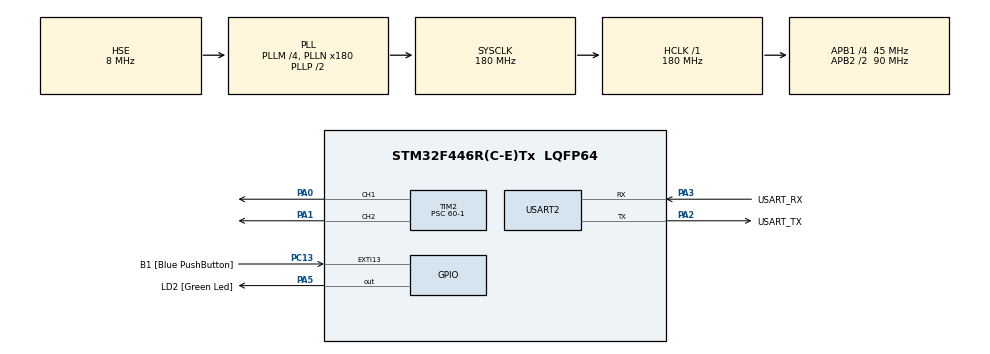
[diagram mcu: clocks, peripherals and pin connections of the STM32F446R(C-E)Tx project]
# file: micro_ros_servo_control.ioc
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Dma.Request0=USART2_RX
Dma.Request1=USART2_TX
Dma.USART2_RX.0.Direction=DMA_PERIPH_TO_MEMORY
Dma.USART2_RX.0.FIFOMode=DMA_FIFOMODE_DISABLE
Dma.USART2_RX.0.Instance=DMA1_Stream5
Dma.USART2_RX.0.MemDataAlignment=DMA_MDATAALIGN_BYTE
Dma.USART2_RX.0.MemInc=DMA_MINC_ENABLE
Dma.USART2_RX.0.Mode=DMA_CIRCULAR
Dma.USART2_RX.0.PeriphDataAlignment=DMA_PDATAALIGN_BYTE
Dma.USART2_RX.0.PeriphInc=DMA_PINC_DISABLE
Dma.USART2_RX.0.Priority=DMA_PRIORITY_VERY_HIGH
Dma.USART2_TX.1.Direction=DMA_MEMORY_TO_PERIPH
Dma.USART2_TX.1.FIFOMode=DMA_FIFOMODE_DISABLE
Dma.USART2_TX.1.Instance=DMA1_Stream6
Dma.USART2_TX.1.MemDataAlignment=DMA_MDATAALIGN_BYTE
Dma.USART2_TX.1.MemInc=DMA_MINC_ENABLE
Dma.USART2_TX.1.Mode=DMA_NORMAL
Dma.USART2_TX.1.PeriphDataAlignment=DMA_PDATAALIGN_BYTE
Dma.USART2_TX.1.PeriphInc=DMA_PINC_DISABLE
Dma.USART2_TX.1.Priority=DMA_PRIORITY_VERY_HIGH
FREERTOS.Tasks01=defaultTask,24,3000,StartDefaultTask,Default,NULL,Static,defaultTaskBuffer,defaultTaskControlBlock
FREERTOS.configUSE_NEWLIB_REENTRANT=1
Mcu.Family=STM32F4
Mcu.Name=STM32F446R(C-E)Tx
Mcu.Package=LQFP64
NVIC.DMA1_Stream5_IRQn=true\:5\:0\:false\:false\:true\:true\:false\:true\:true
NVIC.DMA1_Stream6_IRQn=true\:5\:0\:false\:false\:true\:true\:false\:true\:true
NVIC.PriorityGroup=NVIC_PRIORITYGROUP_4
NVIC.TIM1_UP_TIM10_IRQn=true\:15\:0\:false\:false\:true\:false\:false\:true\:true
NVIC.TimeBase=TIM1_UP_TIM10_IRQn
NVIC.TimeBaseIP=TIM1
NVIC.USART2_IRQn=true\:5\:0\:false\:false\:true\:true\:true\:true\:true
PA0-WKUP.Signal=S_TIM2_CH1_ETR
PA1.Signal=S_TIM2_CH2
PA13.GPIO_Label=TMS
PA13.Mode=Serial_Wire
PA13.Signal=SYS_JTMS-SWDIO
PA14.GPIO_Label=TCK
PA14.Mode=Serial_Wire
PA14.Signal=SYS_JTCK-SWCLK
PA2.GPIO_Label=USART_TX
PA2.Mode=Asynchronous
PA2.Signal=USART2_TX
PA3.GPIO_Label=USART_RX
PA3.Mode=Asynchronous
PA3.Signal=USART2_RX
PA5.GPIO_Label=LD2 [Green Led]
PA5.Signal=GPIO_Output
PB3.GPIO_Label=SWO
PB3.Signal=SYS_JTDO-SWO
PC13.GPIO_Label=B1 [Blue PushButton]
PC13.GPIO_ModeDefaultEXTI=GPIO_MODE_IT_FALLING
PC13.Signal=GPXTI13
PC14-OSC32_IN.Mode=LSE-External-Oscillator
PC14-OSC32_IN.Signal=RCC_OSC32_IN
PC15-OSC32_OUT.Mode=LSE-External-Oscillator
PC15-OSC32_OUT.Signal=RCC_OSC32_OUT
PH0-OSC_IN.Mode=HSE-External-Oscillator
PH0-OSC_IN.Signal=RCC_OSC_IN
PH1-OSC_OUT.Mode=HSE-External-Oscillator
PH1-OSC_OUT.Signal=RCC_OSC_OUT
ProjectManager.HeapSize=0x200
ProjectManager.StackSize=0x400
ProjectManager.TargetToolchain=Makefile
RCC.48MHZClocksFreq_Value=84000000
RCC.AHBFreq_Value=180000000
RCC.APB1CLKDivider=RCC_HCLK_DIV4
RCC.APB1Freq_Value=45000000
RCC.APB1TimFreq_Value=90000000
RCC.APB2CLKDivider=RCC_HCLK_DIV2
RCC.APB2Freq_Value=90000000
RCC.APB2TimFreq_Value=180000000
RCC.CortexFreq_Value=180000000
RCC.FLatency-AdvancedSettings=FLASH_LATENCY_5
RCC.HCLKFreq_Value=180000000
RCC.HSE_VALUE=8000000
RCC.HSI_VALUE=16000000
RCC.PLLM=4
RCC.PLLN=180
RCC.PLLSourceVirtual=RCC_PLLSOURCE_HSE
RCC.SYSCLKFreq_VALUE=180000000
RCC.SYSCLKSource=RCC_SYSCLKSOURCE_PLLCLK
RCC.USBFreq_Value=180000000
RCC.VCOOutputFreq_Value=360000000
SH.S_TIM2_CH1_ETR.0=TIM2_CH1,PWM Generation1 CH1
SH.S_TIM2_CH2.0=TIM2_CH2,PWM Generation2 CH2
TIM2.AutoReloadPreload=TIM_AUTORELOAD_PRELOAD_ENABLE
TIM2.Channel-PWM\ Generation1\ CH1=TIM_CHANNEL_1
TIM2.Channel-PWM\ Generation2\ CH2=TIM_CHANNEL_2
TIM2.Period=60000-1
TIM2.Prescaler=60-1
USART2.VirtualMode=VM_ASYNC
VP_FREERTOS_VS_CMSIS_V2.Mode=CMSIS_V2
VP_SYS_VS_tim1.Mode=TIM1
VP_TIM2_VS_ClockSourceINT.Mode=Internal
board=NUCLEO-F446RE

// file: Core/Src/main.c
/* USER CODE BEGIN Header */
/**
  ******************************************************************************
  * @file           : main.c
  * @brief          : Main program body
  ******************************************************************************
  * @attention
  *
  * Copyright (c) 2024 STMicroelectronics.
  * All rights reserved.
  *
  * This software is licensed under terms that can be found in the LICENSE file
  * in the root directory of this software component.
  * If no LICENSE file comes with this software, it is provided AS-IS.
  *
  ******************************************************************************
  */
/* USER CODE END Header */
#include "main.h"
#include "cmsis_os.h"

/* USER CODE BEGIN Includes */
#include <rcl/rcl.h>
#include <rcl/error_handling.h>
#include <rclc/rclc.h>
#include <rclc/executor.h>
#include <uxr/client/transport.h>
#include <rmw_microxrcedds_c/config.h>
#include <rmw_microros/rmw_microros.h>

#include <stdio.h>
#include <string.h>
#include <math.h>

#include <midpoint_message/msg/midpoint_message.h>

/* USER CODE END Includes */

typedef StaticTask_t osStaticThreadDef_t;

TIM_HandleTypeDef htim2;

UART_HandleTypeDef huart2;
DMA_HandleTypeDef hdma_usart2_rx;
DMA_HandleTypeDef hdma_usart2_tx;

/* Definitions for defaultTask */
osThreadId_t defaultTaskHandle;
uint32_t defaultTaskBuffer[ 3000 ];
osStaticThreadDef_t defaultTaskControlBlock;
const osThreadAttr_t defaultTask_attributes = {
  .name = "defaultTask",
  .cb_mem = &defaultTaskControlBlock,
  .cb_size = sizeof(defaultTaskControlBlock),
  .stack_mem = &defaultTaskBuffer[0],
  .stack_size = sizeof(defaultTaskBuffer),
  .priority = (osPriority_t) osPriorityNormal,
};

void SystemClock_Config(void);
static void MX_GPIO_Init(void);
static void MX_DMA_Init(void);
static void MX_USART2_UART_Init(void);
static void MX_TIM2_Init(void);
void StartDefaultTask(void *argument);

/* USER CODE BEGIN PFP */
uint16_t map(uint16_t x, uint16_t in_min, uint16_t in_max, uint16_t out_min, uint16_t out_max)
{
  return (x - in_min) * (out_max - out_min) / (in_max - in_min) + out_min;
}
/* USER CODE END PFP */

int main(void)
{

  /* MCU Configuration--------------------------------------------------------*/

  /* Reset of all peripherals, Initializes the Flash interface and the Systick. */
  HAL_Init();

  /* Configure the system clock */
  SystemClock_Config();

  /* Initialize all configured peripherals */
  MX_GPIO_Init();
  MX_DMA_Init();
  MX_USART2_UART_Init();
  MX_TIM2_Init();
  /* USER CODE BEGIN 2 */
  HAL_TIM_PWM_Start(&htim2, TIM_CHANNEL_1);
  HAL_TIM_PWM_Start(&htim2, TIM_CHANNEL_2);
  /* USER CODE END 2 */

  /* Init scheduler */
  osKernelInitialize();

  /* Create the thread(s) */
  /* creation of defaultTask */
  defaultTaskHandle = osThreadNew(StartDefaultTask, NULL, &defaultTask_attributes);

  /* Start scheduler */
  osKernelStart();

  /* We should never get here as control is now taken by the scheduler */

  /* Infinite loop */
  while (1)
  {

  }
}

void SystemClock_Config(void)
{
  RCC_OscInitTypeDef RCC_OscInitStruct = {0};
  RCC_ClkInitTypeDef RCC_ClkInitStruct = {0};

  /** Configure the main internal regulator output voltage
  */
  __HAL_RCC_PWR_CLK_ENABLE();
  __HAL_PWR_VOLTAGESCALING_CONFIG(PWR_REGULATOR_VOLTAGE_SCALE1);

  /** Initializes the RCC Oscillators according to the specified parameters
  * in the RCC_OscInitTypeDef structure.
  */
  RCC_OscInitStruct.OscillatorType = RCC_OSCILLATORTYPE_HSE;
  RCC_OscInitStruct.HSEState = RCC_HSE_ON;
  RCC_OscInitStruct.PLL.PLLState = RCC_PLL_ON;
  RCC_OscInitStruct.PLL.PLLSource = RCC_PLLSOURCE_HSE;
  RCC_OscInitStruct.PLL.PLLM = 4;
  RCC_OscInitStruct.PLL.PLLN = 180;
  RCC_OscInitStruct.PLL.PLLP = RCC_PLLP_DIV2;
  RCC_OscInitStruct.PLL.PLLQ = 2;
  RCC_OscInitStruct.PLL.PLLR = 2;
  if (HAL_RCC_OscConfig(&RCC_OscInitStruct) != HAL_OK)
  {
    Error_Handler();
  }

  /** Activate the Over-Drive mode
  */
  if (HAL_PWREx_EnableOverDrive() != HAL_OK)
  {
    Error_Handler();
  }

  /** Initializes the CPU, AHB and APB buses clocks
  */
  RCC_ClkInitStruct.ClockType = RCC_CLOCKTYPE_HCLK|RCC_CLOCKTYPE_SYSCLK
                              |RCC_CLOCKTYPE_PCLK1|RCC_CLOCKTYPE_PCLK2;
  RCC_ClkInitStruct.SYSCLKSource = RCC_SYSCLKSOURCE_PLLCLK;
  RCC_ClkInitStruct.AHBCLKDivider = RCC_SYSCLK_DIV1;
  RCC_ClkInitStruct.APB1CLKDivider = RCC_HCLK_DIV4;
  RCC_ClkInitStruct.APB2CLKDivider = RCC_HCLK_DIV2;

  if (HAL_RCC_ClockConfig(&RCC_ClkInitStruct, FLASH_LATENCY_5) != HAL_OK)
  {
    Error_Handler();
  }
}

static void MX_TIM2_Init(void)
{

  TIM_ClockConfigTypeDef sClockSourceConfig = {0};
  TIM_MasterConfigTypeDef sMasterConfig = {0};
  TIM_OC_InitTypeDef sConfigOC = {0};

  htim2.Instance = TIM2;
  htim2.Init.Prescaler = 60-1;
  htim2.Init.CounterMode = TIM_COUNTERMODE_UP;
  htim2.Init.Period = 60000-1;
  htim2.Init.ClockDivision = TIM_CLOCKDIVISION_DIV1;
  htim2.Init.AutoReloadPreload = TIM_AUTORELOAD_PRELOAD_ENABLE;
  if (HAL_TIM_Base_Init(&htim2) != HAL_OK)
  {
    Error_Handler();
  }
  sClockSourceConfig.ClockSource = TIM_CLOCKSOURCE_INTERNAL;
  if (HAL_TIM_ConfigClockSource(&htim2, &sClockSourceConfig) != HAL_OK)
  {
    Error_Handler();
  }
  if (HAL_TIM_PWM_Init(&htim2) != HAL_OK)
  {
    Error_Handler();
  }
  sMasterConfig.MasterOutputTrigger = TIM_TRGO_RESET;
  sMasterConfig.MasterSlaveMode = TIM_MASTERSLAVEMODE_DISABLE;
  if (HAL_TIMEx_MasterConfigSynchronization(&htim2, &sMasterConfig) != HAL_OK)
  {
    Error_Handler();
  }
  sConfigOC.OCMode = TIM_OCMODE_PWM1;
  sConfigOC.Pulse = 0;
  sConfigOC.OCPolarity = TIM_OCPOLARITY_HIGH;
  sConfigOC.OCFastMode = TIM_OCFAST_DISABLE;
  if (HAL_TIM_PWM_ConfigChannel(&htim2, &sConfigOC, TIM_CHANNEL_1) != HAL_OK)
  {
    Error_Handler();
  }
  if (HAL_TIM_PWM_ConfigChannel(&htim2, &sConfigOC, TIM_CHANNEL_2) != HAL_OK)
  {
    Error_Handler();
  }
  HAL_TIM_MspPostInit(&htim2);

}

static void MX_USART2_UART_Init(void)
{

  huart2.Instance = USART2;
  huart2.Init.BaudRate = 115200;
  huart2.Init.WordLength = UART_WORDLENGTH_8B;
  huart2.Init.StopBits = UART_STOPBITS_1;
  huart2.Init.Parity = UART_PARITY_NONE;
  huart2.Init.Mode = UART_MODE_TX_RX;
  huart2.Init.HwFlowCtl = UART_HWCONTROL_NONE;
  huart2.Init.OverSampling = UART_OVERSAMPLING_16;
  if (HAL_UART_Init(&huart2) != HAL_OK)
  {
    Error_Handler();
  }

}

static void MX_DMA_Init(void)
{

  /* DMA controller clock enable */
  __HAL_RCC_DMA1_CLK_ENABLE();

  /* DMA interrupt init */
  /* DMA1_Stream5_IRQn interrupt configuration */
  HAL_NVIC_SetPriority(DMA1_Stream5_IRQn, 5, 0);
  HAL_NVIC_EnableIRQ(DMA1_Stream5_IRQn);
  /* DMA1_Stream6_IRQn interrupt configuration */
  HAL_NVIC_SetPriority(DMA1_Stream6_IRQn, 5, 0);
  HAL_NVIC_EnableIRQ(DMA1_Stream6_IRQn);

}

static void MX_GPIO_Init(void)
{
  GPIO_InitTypeDef GPIO_InitStruct = {0};

  /* GPIO Ports Clock Enable */
  __HAL_RCC_GPIOC_CLK_ENABLE();
  __HAL_RCC_GPIOH_CLK_ENABLE();
  __HAL_RCC_GPIOA_CLK_ENABLE();
  __HAL_RCC_GPIOB_CLK_ENABLE();

  /*Configure GPIO pin Output Level */
  HAL_GPIO_WritePin(LD2_GPIO_Port, LD2_Pin, GPIO_PIN_RESET);

  /*Configure GPIO pin : B1_Pin */
  GPIO_InitStruct.Pin = B1_Pin;
  GPIO_InitStruct.Mode = GPIO_MODE_IT_FALLING;
  GPIO_InitStruct.Pull = GPIO_NOPULL;
  HAL_GPIO_Init(B1_GPIO_Port, &GPIO_InitStruct);

  /*Configure GPIO pin : LD2_Pin */
  GPIO_InitStruct.Pin = LD2_Pin;
  GPIO_InitStruct.Mode = GPIO_MODE_OUTPUT_PP;
  GPIO_InitStruct.Pull = GPIO_NOPULL;
  GPIO_InitStruct.Speed = GPIO_SPEED_FREQ_LOW;
  HAL_GPIO_Init(LD2_GPIO_Port, &GPIO_InitStruct);

}

/* USER CODE BEGIN 4 */
bool cubemx_transport_open(struct uxrCustomTransport *transport);
bool cubemx_transport_close(struct uxrCustomTransport *transport);
size_t cubemx_transport_write(struct uxrCustomTransport *transport, const uint8_t *buf, size_t len, uint8_t *err);
size_t cubemx_transport_read(struct uxrCustomTransport *transport, uint8_t *buf, size_t len, int timeout, uint8_t *err);

void *microros_allocate(size_t size, void *state);
void microros_deallocate(void *pointer, void *state);
void *microros_reallocate(void *pointer, size_t size, void *state);
void *microros_zero_allocate(size_t number_of_elements, size_t size_of_element, void *state);

rcl_publisher_t publisher;
midpoint_message__msg__MidpointMessage midpoint_msg;

/* USER CODE END 4 */

static int bla = 1100;
static int bli = 1200;

void subscription_callback(const void *msgin)
{
  const midpoint_message__msg__MidpointMessage *msg = (const midpoint_message__msg__MidpointMessage *)msgin;

  int x_value = map(msg->midpoint_x, 1, 640, 1100, 7500);
  int y_value = map(msg->midpoint_y, 1, 480, 1100, 6500);
  //int bla;
  //int bli;
  //TIM2->CCR1 = bla++;
  //TIM2->CCR2 = bli++;

  TIM2->CCR1 = x_value;
  TIM2->CCR2 = y_value;

  midpoint_message__msg__MidpointMessage callback_msg;
  callback_msg.midpoint_x = x_value;
  callback_msg.midpoint_y = y_value;

  rcl_ret_t ret = rcl_publish(&publisher, (const void *)&callback_msg, NULL);
  if (ret != RCL_RET_OK)
  {
    printf("Error publishing (line %d)\n", __LINE__);
  }
}
void StartDefaultTask(void *argument)
{
  rmw_uros_set_custom_transport(
      true,
      (void *)&huart2,
      cubemx_transport_open,
      cubemx_transport_close,
      cubemx_transport_write,
      cubemx_transport_read);

  rcl_allocator_t freeRTOS_allocator = rcutils_get_zero_initialized_allocator();
  freeRTOS_allocator.allocate = microros_allocate;
  freeRTOS_allocator.deallocate = microros_deallocate;
  freeRTOS_allocator.reallocate = microros_reallocate;
  freeRTOS_allocator.zero_allocate = microros_zero_allocate;

  if (!rcutils_set_default_allocator(&freeRTOS_allocator))
  {
    printf("Error on default allocators (line %d)\n", __LINE__);
  }

  // micro-ROS app

  rclc_support_t support;
  rcl_allocator_t allocator;
  rcl_node_t node;

  rcl_subscription_t subscriber;

  allocator = rcl_get_default_allocator();

  // create init_options
  rclc_support_init(&support, 0, NULL, &allocator);

  // create node
  rclc_node_init_default(&node, "servo_mcu", "", &support);

  // create publisher
  rclc_publisher_init_default(
      &publisher,
      &node,
      ROSIDL_GET_MSG_TYPE_SUPPORT(midpoint_message, msg, MidpointMessage),
      "midpoint_callback");

  // Initialize subscriber
  rcl_ret_t rc = rclc_subscription_init_default(
      &subscriber,
      &node,
      ROSIDL_GET_MSG_TYPE_SUPPORT(midpoint_message, msg, MidpointMessage),
      "midpoint_coordinates");

  rclc_executor_t executor;
  rclc_executor_init(&executor, &support.context, 1, &allocator);
  rclc_executor_add_subscription(&executor, &subscriber, &midpoint_msg, &subscription_callback, ON_NEW_DATA);

  for (;;)
  {
    rclc_executor_spin_some(&executor, RCL_MS_TO_NS(100));

    osDelay(10);
  }

  /* USER CODE END 5 */
}

void HAL_TIM_PeriodElapsedCallback(TIM_HandleTypeDef *htim)
{
  if (htim->Instance == TIM1) {
    HAL_IncTick();
  }
}

void Error_Handler(void)
{
  __disable_irq();
  while (1)
  {
  }
}
